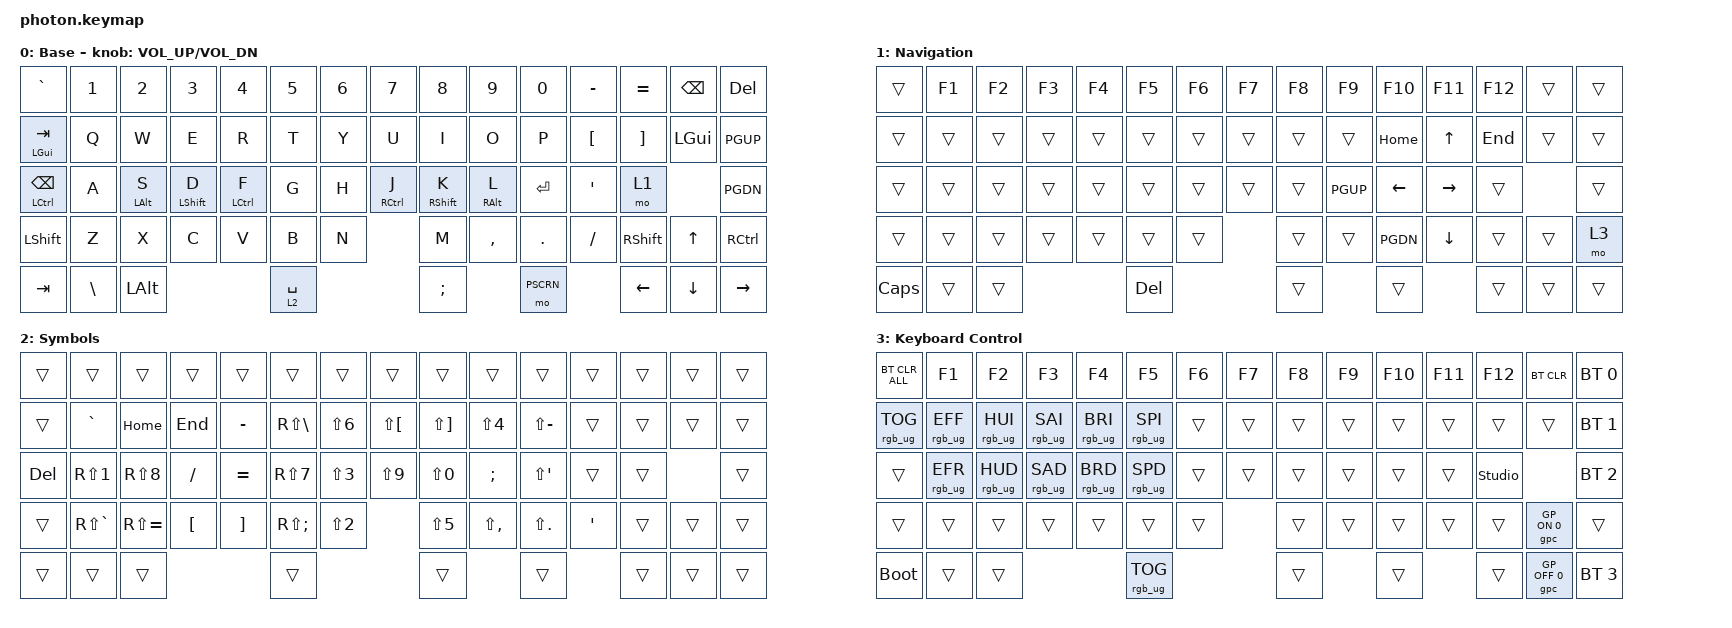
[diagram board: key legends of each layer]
/*
 * Copyright (c) 2024 CannonKeys LLC
 *
 * SPDX-License-Identifier: MIT
 */

 // Custom setting of HHLKB

#include <behaviors.dtsi>
#include <dt-bindings/zmk/keys.h>
#include <dt-bindings/zmk/rgb.h>
#include <dt-bindings/zmk/bt.h>

&mt {
    flavor = "balanced";
    tapping-term-ms = <220>;
    quick-tap-ms = <150>;
    hold-while-undecided;
};

&lt {
    quick-tap-ms = <150>;
};

/ {
    behaviors {
        ht: custom_hold_tap {
            compatible = "zmk,behavior-hold-tap";
            #binding-cells = <2>;
            flavor = "balanced";
            tapping-term-ms = <220>;
            quick-tap-ms = <150>;
            bindings = <&kp>, <&kp>;
            display-name = "Custom-Mod-Tap";
        };
    };

    combos {
        compatible = "zmk,combos";
        combo_esc {
            timeout-ms = <50>;
            key-positions = <16 17>; // Q, W
            bindings = <&kp ESC>;
        };
        // combo_tab {
        //     timeout-ms = <50>;
        //     key-positions = <23 24>; // I, O
        //     bindings = <&kp TAB>;
        // };
        combo_bslh {
            timeout-ms = <50>;
            key-positions = <53 54>; // DOT, FSLH
            bindings = <&kp BSLH>;
        };
        combo_cut {
            timeout-ms = <50>;
            key-positions = <44 45>; // LSHFT, Z
            bindings = <&kp LC(X)>;
        };
        combo_undo {
            timeout-ms = <50>;
            key-positions = <45 46>; // Z, X
            bindings = <&kp LC(Z)>;
        };
        combo_copy {
            timeout-ms = <50>;
            key-positions = <46 47>; // X, C
            bindings = <&kp LC(C)>;
        };
        combo_paste {
            timeout-ms = <50>;
            key-positions = <47 48>; // C, V
            bindings = <&kp LC(V)>;
        };
    };

    keymap {
        compatible = "zmk,keymap";

        base_layer { // Layer 0
            display-name = "Base";
            bindings = <
    &kp GRAVE      &kp N1        &kp N2        &kp N3       &kp N4       &kp N5       &kp N6     &kp N7       &kp N8       &kp N9      &kp N0         &kp MINUS  &kp EQUAL  &kp BSPC  &kp DEL    // 0...14
    &mt LGUI TAB   &kp Q         &kp W         &kp E        &kp R        &kp T        &kp Y      &kp U        &kp I        &kp O       &kp P          &kp LBKT   &kp RBKT   &kp LGUI  &kp PGUP   // 15..29
    &mt LCTRL BSPC &kp A         &ht LALT S    &mt LSHFT D  &mt LCTRL F  &kp G        &kp H      &mt RCTRL J  &mt RSHFT K  &ht RALT L  &kp ENTER      &kp SQT    &mo 1                &kp PGDN   // 30..43
    &kp LSHFT      &kp Z         &kp X         &kp C        &kp V        &kp B        &kp N      &kp M        &kp COMMA    &kp DOT     &kp FSLH       &kp RSHFT           &kp UP      &kp RCTRL  // 44..57
    &kp TAB        &kp BSLH      &kp LALT                                &lt 2 SPACE                                &kp SEMI         &mo PSCRN              &kp LEFT      &kp DOWN    &kp RIGHT  // 58..66

            >;
            sensor-bindings = <&inc_dec_kp C_VOL_UP C_VOL_DN>;
        };

        nav_layer { // Layer 1
            display-name = "Navigation";
            bindings = <
    &trans         &kp F1        &kp F2        &kp F3       &kp F4       &kp F5       &kp F6     &kp F7       &kp F8        &kp F9     &kp F10        &kp F11    &kp F12    &trans    &trans
    &trans         &trans        &trans        &trans       &trans       &trans       &trans     &trans       &trans        &trans     &kp HOME       &kp UP     &kp END    &trans    &trans
    &trans         &trans        &trans        &trans       &trans       &trans       &trans     &trans       &trans        &kp PGUP   &kp LEFT       &kp RIGHT  &trans               &trans
    &trans         &trans        &trans        &trans       &trans       &trans       &trans     &trans       &trans        &kp PGDN   &kp DOWN       &trans              &trans      &mo 3
    &kp CAPS       &trans        &trans                                  &kp DEL                                    &trans           &trans                 &trans        &trans      &trans
            >;
        };

        sym_layer { // Layer 2
            display-name = "Symbols";
            bindings = <
    &trans         &trans        &trans        &trans       &trans       &trans       &trans     &trans       &trans        &trans      &trans        &trans     &trans     &trans    &trans
    &trans         &kp GRAVE     &kp HOME      &kp END      &kp MINUS    &kp RS(BSLH) &kp LS(N6) &kp LS(LBKT) &kp LS(RBKT)  &kp LS(N4)  &kp LS(MINUS) &trans     &trans     &trans    &trans
    &kp DEL        &kp RS(N1)    &kp RS(N8)    &kp FSLH     &kp EQUAL    &kp RS(N7)   &kp LS(N3) &kp LS(N9)   &kp LS(N0)    &kp SEMI    &kp LS(SQT)   &trans     &trans               &trans
    &trans         &kp RS(GRAVE) &kp RS(EQUAL) &kp LBKT     &kp RBKT     &kp RS(SEMI) &kp LS(N2) &kp LS(N5)   &kp LS(COMMA) &kp LS(DOT) &kp SQT       &trans              &trans      &trans
    &trans         &trans        &trans                                  &trans                                     &trans           &trans                  &trans       &trans      &trans
            >;
        };

        // Default control layer (unmodified)
        control_layer { // Layer 3
            display-name = "Keyboard Control";
            bindings = <
    &bt BT_CLR_ALL  &kp F1          &kp F2          &kp F3           &kp F4          &kp F5          &kp F6    &kp F7    &kp F8    &kp F9    &kp F10   &kp F11   &kp F12   &bt BT_CLR  &bt BT_SEL 0
    &rgb_ug RGB_TOG &rgb_ug RGB_EFF &rgb_ug RGB_HUI &rgb_ug RGB_SAI  &rgb_ug RGB_BRI &rgb_ug RGB_SPI &trans    &trans    &trans    &trans    &trans    &trans    &trans    &trans      &bt BT_SEL 1
    &trans          &rgb_ug RGB_EFR &rgb_ug RGB_HUD &rgb_ug RGB_SAD  &rgb_ug RGB_BRD &rgb_ug RGB_SPD &trans    &trans    &trans    &trans    &trans    &trans    &studio_unlock        &bt BT_SEL 2
    &trans          &trans          &trans          &trans           &trans          &trans          &trans    &trans    &trans    &trans    &trans    &trans        &gpc GP_ON 0      &trans
    &bootloader     &trans          &trans                           &rgb_ug RGB_TOG                                 &trans      &trans                     &trans   &gpc GP_OFF 0     &bt BT_SEL 3
            >;
        };
    };
};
